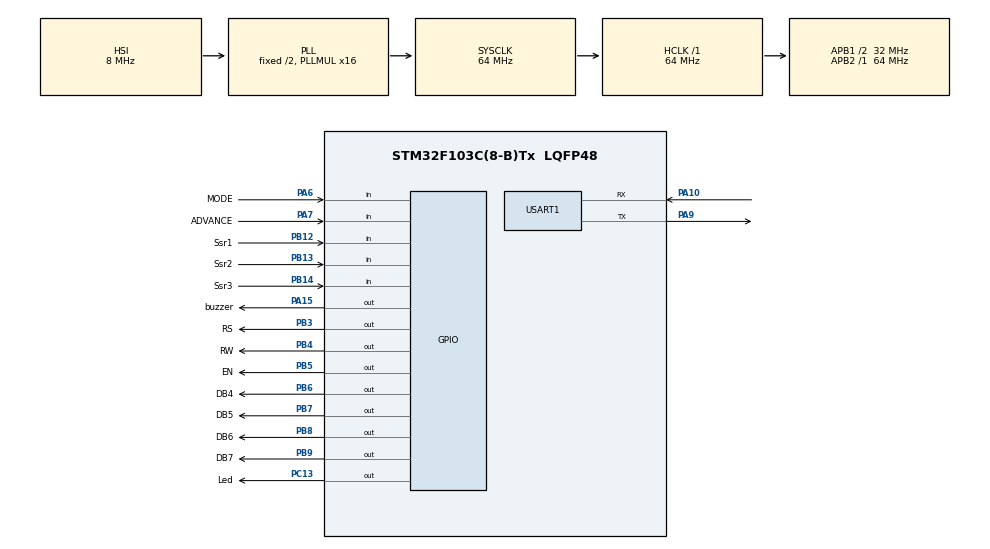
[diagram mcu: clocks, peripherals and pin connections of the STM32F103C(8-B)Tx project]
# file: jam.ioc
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Mcu.Family=STM32F1
Mcu.Name=STM32F103C(8-B)Tx
Mcu.Package=LQFP48
NVIC.PriorityGroup=NVIC_PRIORITYGROUP_4
NVIC.TIM2_IRQn=true\:0\:0\:false\:false\:true
NVIC.TIM3_IRQn=true\:0\:0\:false\:false\:true
PA10.Mode=Asynchronous
PA10.Signal=USART1_RX
PA15.GPIO_Label=buzzer
PA15.PinState=GPIO_PIN_SET
PA15.Signal=GPIO_Output
PA6.GPIO_Label=MODE
PA6.GPIO_PuPd=GPIO_PULLUP
PA6.Signal=GPIO_Input
PA7.GPIO_Label=ADVANCE
PA7.GPIO_PuPd=GPIO_PULLUP
PA7.Signal=GPIO_Input
PA9.Mode=Asynchronous
PA9.Signal=USART1_TX
PB12.GPIO_Label=Ssr1
PB12.GPIO_PuPd=GPIO_PULLUP
PB12.Signal=GPIO_Input
PB13.GPIO_Label=Ssr2
PB13.GPIO_PuPd=GPIO_PULLUP
PB13.Signal=GPIO_Input
PB14.GPIO_Label=Ssr3
PB14.GPIO_PuPd=GPIO_PULLUP
PB14.Signal=GPIO_Input
PB3.GPIO_Label=RS
PB3.Signal=GPIO_Output
PB4.GPIO_Label=RW
PB4.Signal=GPIO_Output
PB5.GPIO_Label=EN
PB5.Signal=GPIO_Output
PB6.GPIO_Label=DB4
PB6.Signal=GPIO_Output
PB7.GPIO_Label=DB5
PB7.Signal=GPIO_Output
PB8.GPIO_Label=DB6
PB8.Signal=GPIO_Output
PB9.GPIO_Label=DB7
PB9.Signal=GPIO_Output
PC13-TAMPER-RTC.GPIO_Label=Led
PC13-TAMPER-RTC.Signal=GPIO_Output
ProjectManager.HeapSize=0x200
ProjectManager.StackSize=0x400
ProjectManager.TargetToolchain=SW4STM32
RCC.AHBCLKDivider=RCC_SYSCLK_DIV1
RCC.AHBFreq_Value=64000000
RCC.APB1CLKDivider=RCC_HCLK_DIV2
RCC.APB1Freq_Value=32000000
RCC.APB1TimFreq_Value=64000000
RCC.APB2CLKDivider=RCC_HCLK_DIV1
RCC.APB2Freq_Value=64000000
RCC.APB2TimFreq_Value=64000000
RCC.ClockTypeHCLK=RCC_CLOCKTYPE_HCLK
RCC.ClockTypePCLK1=RCC_CLOCKTYPE_PCLK1
RCC.ClockTypePCLK2=RCC_CLOCKTYPE_PCLK2
RCC.EnableHSE=false
RCC.EnableHSERTCDevisor=false
RCC.EnableLSE=false
RCC.EnableLSERTC=false
RCC.EnableMCOMultDivisor=false
RCC.HCLKFreq_Value=64000000
RCC.HSEState=RCC_HSE_OFF
RCC.HSIState=RCC_HSI_ON
RCC.IWDGEnable=false
RCC.LSIState=RCC_LSI_OFF
RCC.MCOEnable=false
RCC.OscillatorTypeHSI=RCC_OSCILLATORTYPE_HSI
RCC.PLLMUL=RCC_PLL_MUL16
RCC.PLLSource=RCC_PLLSOURCE_HSI_DIV2
RCC.PLLSourceVirtual=RCC_PLLSOURCE_HSI_DIV2
RCC.PLLState=RCC_PLL_ON
RCC.RTCEnable=false
RCC.SYSCLKFreq_VALUE=64000000
RCC.SYSCLKSource=RCC_SYSCLKSOURCE_PLLCLK
RCC.TimSys_Div=SYSTICK_CLKSOURCE_HCLK
RCC.USBFreq_Value=64000000
TIM2.Period=200-1
TIM2.Prescaler=32000-1
TIM3.Period=20-1
TIM3.Prescaler=32000-1
USART1.HwFlowCtl-Asynchronous=UART_HWCONTROL_NONE
USART1.VirtualMode=VM_ASYNC
VP_SYS_VS_ND.Mode=No_Debug
VP_TIM2_VS_ClockSourceINT.Mode=Internal
VP_TIM3_VS_ClockSourceINT.Mode=Internal
board=jam

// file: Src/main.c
/**
  ******************************************************************************
  * File Name          : main.c
  * Description        : Main program body
  ******************************************************************************
  *
  * COPYRIGHT(c) 2017 STMicroelectronics
  *
  * Redistribution and use in source and binary forms, with or without modification,
  * are permitted provided that the following conditions are met:
  *   1. Redistributions of source code must retain the above copyright notice,
  *      this list of conditions and the following disclaimer.
  *   2. Redistributions in binary form must reproduce the above copyright notice,
  *      this list of conditions and the following disclaimer in the documentation
  *      and/or other materials provided with the distribution.
  *   3. Neither the name of STMicroelectronics nor the names of its contributors
  *      may be used to endorse or promote products derived from this software
  *      without specific prior written permission.
  *
  * THIS SOFTWARE IS PROVIDED BY THE COPYRIGHT HOLDERS AND CONTRIBUTORS "AS IS"
  * AND ANY EXPRESS OR IMPLIED WARRANTIES, INCLUDING, BUT NOT LIMITED TO, THE
  * IMPLIED WARRANTIES OF MERCHANTABILITY AND FITNESS FOR A PARTICULAR PURPOSE ARE
  * DISCLAIMED. IN NO EVENT SHALL THE COPYRIGHT HOLDER OR CONTRIBUTORS BE LIABLE
  * FOR ANY DIRECT, INDIRECT, INCIDENTAL, SPECIAL, EXEMPLARY, OR CONSEQUENTIAL
  * DAMAGES (INCLUDING, BUT NOT LIMITED TO, PROCUREMENT OF SUBSTITUTE GOODS OR
  * SERVICES; LOSS OF USE, DATA, OR PROFITS; OR BUSINESS INTERRUPTION) HOWEVER
  * CAUSED AND ON ANY THEORY OF LIABILITY, WHETHER IN CONTRACT, STRICT LIABILITY,
  * OR TORT (INCLUDING NEGLIGENCE OR OTHERWISE) ARISING IN ANY WAY OUT OF THE USE
  * OF THIS SOFTWARE, EVEN IF ADVISED OF THE POSSIBILITY OF SUCH DAMAGE.
  *
  ******************************************************************************
  */
#include "main.h"
#include "stm32f1xx_hal.h"

/* USER CODE BEGIN Includes */
#include "lcd.h"
#include"sensor.h"
/* USER CODE END Includes */

TIM_HandleTypeDef htim2;
TIM_HandleTypeDef htim3;

UART_HandleTypeDef huart1;

/* USER CODE BEGIN PV */
/* Private variables ---------------------------------------------------------*/
uint8_t _d, _m, _h, ms;
uint8_t tO1, tO2;
char b1[16], b2[16];
char lcd[16];
uint8_t teken1, teken2;
uint8_t _enable = 1;

enum {
	display, change_hour, change_minute, change_second
} state;
/* USER CODE END PV */

void SystemClock_Config(void);
void Error_Handler(void);
static void MX_GPIO_Init(void);
static void MX_USART1_UART_Init(void);
static void MX_TIM2_Init(void);
static void MX_TIM3_Init(void);

/* USER CODE BEGIN PFP */
/* Private function prototypes -----------------------------------------------*/

/* USER CODE END PFP */

int main(void)
{

  /* MCU Configuration----------------------------------------------------------*/

  /* Reset of all peripherals, Initializes the Flash interface and the Systick. */
  HAL_Init();

  /* Configure the system clock */
  SystemClock_Config();

  /* Initialize all configured peripherals */
  MX_GPIO_Init();
  MX_USART1_UART_Init();
  MX_TIM2_Init();
  MX_TIM3_Init();

  /* USER CODE BEGIN 2 */
	//htim1->Instance = TIM1;
	state = display;

	HAL_TIM_Base_Start_IT(&htim3); // start timer interrupts
	HAL_NVIC_SetPriority(TIM3_IRQn, 0, 1);
	HAL_NVIC_SetPriority(TIM2_IRQn, 1, 3);
	HAL_TIM_Base_Start_IT(&htim2);

	lcd_init();
	//lcd_putstr("Lap Counter");
  /* USER CODE END 2 */

  /* Infinite loop */
	while (1) {

  /* USER CODE BEGIN 3 */
		//HAL_GPIO_TogglePin(GPIOC, GPIO_PIN_13);
		//HAL_Delay(100);
		//lcd_gotoxy(0, 0);
		// lcd_putstr("Tmbl SS");
		switch (state) {

		case display:
//			lcd_gotoxy(0, 0);
//			sprintf(lcd, "Pukul : %2d:%2d:%2d",  _h, _m, _d);
//			lcd_putstr(lcd);

			if (Mode()) {
				state = change_hour;
			}
			break;

		case change_hour:
			//lcd_clear();
//			lcd_gotoxy(0, 0);
			//		sprintf(lcd, "hour : %2d:%2d:%2d",  _h, _m, _d);
//			lcd_putstr("1");
			if (Advance() == 1) {
				_h++;
			}

			if (Advance() == 2) {

				_h = _h + 2;
			}
			if (Mode()) {
				state = change_minute;
			}
			break;

		case change_minute:
			//lcd_clear();
//			lcd_gotoxy(0, 0);
			//sprintf(lcd, "menit : %2d:%2d:%2d",  _h, _m, _d);
//			lcd_putstr("2");
			if (Advance() == 1) {
				++_m;
			}
			if (Advance() == 2) {
				_m += 5;
			}
			if (Mode()) {
				state = change_second;
			}
			break;

		case change_second:
			//lcd_clear();
//			lcd_gotoxy(0, 0);
//			sprintf(lcd, "detik : %2d:%2d:%2d", _h, _m, _d);
//			lcd_putstr("3");
			if (Advance() == 1) {
				++_d;
			}
			if (Advance() == 2) {
				_d += 5;
			}
			if (Mode()) {
				state = display;
			}
			break;
		}

//		if (_enable) {
//			HAL_TIM_Base_Start_IT(&htim1);
//		lcd_gotoxy(0, 0);
//		sprintf(lcd, "Pukul : %2d:%2d:%2d", _h, _m, _d);
//		lcd_putstr(lcd);
//
//		}
	}

  /* USER CODE END 3 */

}

/** System Clock Configuration
*/
void SystemClock_Config(void)
{

  RCC_OscInitTypeDef RCC_OscInitStruct;
  RCC_ClkInitTypeDef RCC_ClkInitStruct;

    /**Initializes the CPU, AHB and APB busses clocks
    */
  RCC_OscInitStruct.OscillatorType = RCC_OSCILLATORTYPE_HSI;
  RCC_OscInitStruct.HSIState = RCC_HSI_ON;
  RCC_OscInitStruct.HSICalibrationValue = 16;
  RCC_OscInitStruct.PLL.PLLState = RCC_PLL_ON;
  RCC_OscInitStruct.PLL.PLLSource = RCC_PLLSOURCE_HSI_DIV2;
  RCC_OscInitStruct.PLL.PLLMUL = RCC_PLL_MUL16;
  if (HAL_RCC_OscConfig(&RCC_OscInitStruct) != HAL_OK)
  {
    Error_Handler();
  }

    /**Initializes the CPU, AHB and APB busses clocks
    */
  RCC_ClkInitStruct.ClockType = RCC_CLOCKTYPE_HCLK|RCC_CLOCKTYPE_SYSCLK
                              |RCC_CLOCKTYPE_PCLK1|RCC_CLOCKTYPE_PCLK2;
  RCC_ClkInitStruct.SYSCLKSource = RCC_SYSCLKSOURCE_PLLCLK;
  RCC_ClkInitStruct.AHBCLKDivider = RCC_SYSCLK_DIV1;
  RCC_ClkInitStruct.APB1CLKDivider = RCC_HCLK_DIV2;
  RCC_ClkInitStruct.APB2CLKDivider = RCC_HCLK_DIV1;

  if (HAL_RCC_ClockConfig(&RCC_ClkInitStruct, FLASH_LATENCY_2) != HAL_OK)
  {
    Error_Handler();
  }

    /**Configure the Systick interrupt time
    */
  HAL_SYSTICK_Config(HAL_RCC_GetHCLKFreq()/1000);

    /**Configure the Systick
    */
  HAL_SYSTICK_CLKSourceConfig(SYSTICK_CLKSOURCE_HCLK);

  /* SysTick_IRQn interrupt configuration */
  HAL_NVIC_SetPriority(SysTick_IRQn, 0, 0);
}

/* TIM2 init function */
static void MX_TIM2_Init(void)
{

  TIM_ClockConfigTypeDef sClockSourceConfig;
  TIM_MasterConfigTypeDef sMasterConfig;

  htim2.Instance = TIM2;
  htim2.Init.Prescaler = 32000-1;
  htim2.Init.CounterMode = TIM_COUNTERMODE_UP;
  htim2.Init.Period = 200-1;
  htim2.Init.ClockDivision = TIM_CLOCKDIVISION_DIV1;
  if (HAL_TIM_Base_Init(&htim2) != HAL_OK)
  {
    Error_Handler();
  }

  sClockSourceConfig.ClockSource = TIM_CLOCKSOURCE_INTERNAL;
  if (HAL_TIM_ConfigClockSource(&htim2, &sClockSourceConfig) != HAL_OK)
  {
    Error_Handler();
  }

  sMasterConfig.MasterOutputTrigger = TIM_TRGO_RESET;
  sMasterConfig.MasterSlaveMode = TIM_MASTERSLAVEMODE_DISABLE;
  if (HAL_TIMEx_MasterConfigSynchronization(&htim2, &sMasterConfig) != HAL_OK)
  {
    Error_Handler();
  }

}

/* TIM3 init function */
static void MX_TIM3_Init(void)
{

  TIM_ClockConfigTypeDef sClockSourceConfig;
  TIM_MasterConfigTypeDef sMasterConfig;

  htim3.Instance = TIM3;
  htim3.Init.Prescaler = 32000-1;
  htim3.Init.CounterMode = TIM_COUNTERMODE_UP;
  htim3.Init.Period = 20-1;
  htim3.Init.ClockDivision = TIM_CLOCKDIVISION_DIV1;
  if (HAL_TIM_Base_Init(&htim3) != HAL_OK)
  {
    Error_Handler();
  }

  sClockSourceConfig.ClockSource = TIM_CLOCKSOURCE_INTERNAL;
  if (HAL_TIM_ConfigClockSource(&htim3, &sClockSourceConfig) != HAL_OK)
  {
    Error_Handler();
  }

  sMasterConfig.MasterOutputTrigger = TIM_TRGO_RESET;
  sMasterConfig.MasterSlaveMode = TIM_MASTERSLAVEMODE_DISABLE;
  if (HAL_TIMEx_MasterConfigSynchronization(&htim3, &sMasterConfig) != HAL_OK)
  {
    Error_Handler();
  }

}

/* USART1 init function */
static void MX_USART1_UART_Init(void)
{

  huart1.Instance = USART1;
  huart1.Init.BaudRate = 115200;
  huart1.Init.WordLength = UART_WORDLENGTH_8B;
  huart1.Init.StopBits = UART_STOPBITS_1;
  huart1.Init.Parity = UART_PARITY_NONE;
  huart1.Init.Mode = UART_MODE_TX_RX;
  huart1.Init.HwFlowCtl = UART_HWCONTROL_NONE;
  huart1.Init.OverSampling = UART_OVERSAMPLING_16;
  if (HAL_UART_Init(&huart1) != HAL_OK)
  {
    Error_Handler();
  }

}

/** Configure pins as
        * Analog
        * Input
        * Output
        * EVENT_OUT
        * EXTI
*/
static void MX_GPIO_Init(void)
{

  GPIO_InitTypeDef GPIO_InitStruct;

  /* GPIO Ports Clock Enable */
  __HAL_RCC_GPIOC_CLK_ENABLE();
  __HAL_RCC_GPIOA_CLK_ENABLE();
  __HAL_RCC_GPIOB_CLK_ENABLE();

  /*Configure GPIO pin Output Level */
  HAL_GPIO_WritePin(Led_GPIO_Port, Led_Pin, GPIO_PIN_RESET);

  /*Configure GPIO pin Output Level */
  HAL_GPIO_WritePin(buzzer_GPIO_Port, buzzer_Pin, GPIO_PIN_SET);

  /*Configure GPIO pin Output Level */
  HAL_GPIO_WritePin(GPIOB, RS_Pin|RW_Pin|EN_Pin|DB4_Pin
                          |DB5_Pin|DB6_Pin|DB7_Pin, GPIO_PIN_RESET);

  /*Configure GPIO pin : Led_Pin */
  GPIO_InitStruct.Pin = Led_Pin;
  GPIO_InitStruct.Mode = GPIO_MODE_OUTPUT_PP;
  GPIO_InitStruct.Speed = GPIO_SPEED_FREQ_LOW;
  HAL_GPIO_Init(Led_GPIO_Port, &GPIO_InitStruct);

  /*Configure GPIO pins : MODE_Pin ADVANCE_Pin */
  GPIO_InitStruct.Pin = MODE_Pin|ADVANCE_Pin;
  GPIO_InitStruct.Mode = GPIO_MODE_INPUT;
  GPIO_InitStruct.Pull = GPIO_PULLUP;
  HAL_GPIO_Init(GPIOA, &GPIO_InitStruct);

  /*Configure GPIO pins : Ssr1_Pin Ssr2_Pin Ssr3_Pin */
  GPIO_InitStruct.Pin = Ssr1_Pin|Ssr2_Pin|Ssr3_Pin;
  GPIO_InitStruct.Mode = GPIO_MODE_INPUT;
  GPIO_InitStruct.Pull = GPIO_PULLUP;
  HAL_GPIO_Init(GPIOB, &GPIO_InitStruct);

  /*Configure GPIO pin : buzzer_Pin */
  GPIO_InitStruct.Pin = buzzer_Pin;
  GPIO_InitStruct.Mode = GPIO_MODE_OUTPUT_PP;
  GPIO_InitStruct.Speed = GPIO_SPEED_FREQ_LOW;
  HAL_GPIO_Init(buzzer_GPIO_Port, &GPIO_InitStruct);

  /*Configure GPIO pins : RS_Pin RW_Pin EN_Pin DB4_Pin
                           DB5_Pin DB6_Pin DB7_Pin */
  GPIO_InitStruct.Pin = RS_Pin|RW_Pin|EN_Pin|DB4_Pin
                          |DB5_Pin|DB6_Pin|DB7_Pin;
  GPIO_InitStruct.Mode = GPIO_MODE_OUTPUT_PP;
  GPIO_InitStruct.Speed = GPIO_SPEED_FREQ_LOW;
  HAL_GPIO_Init(GPIOB, &GPIO_InitStruct);

}

void Error_Handler(void)
{
	while (1) {
	}
}

/************************ (C) COPYRIGHT STMicroelectronics *****END OF FILE****/
